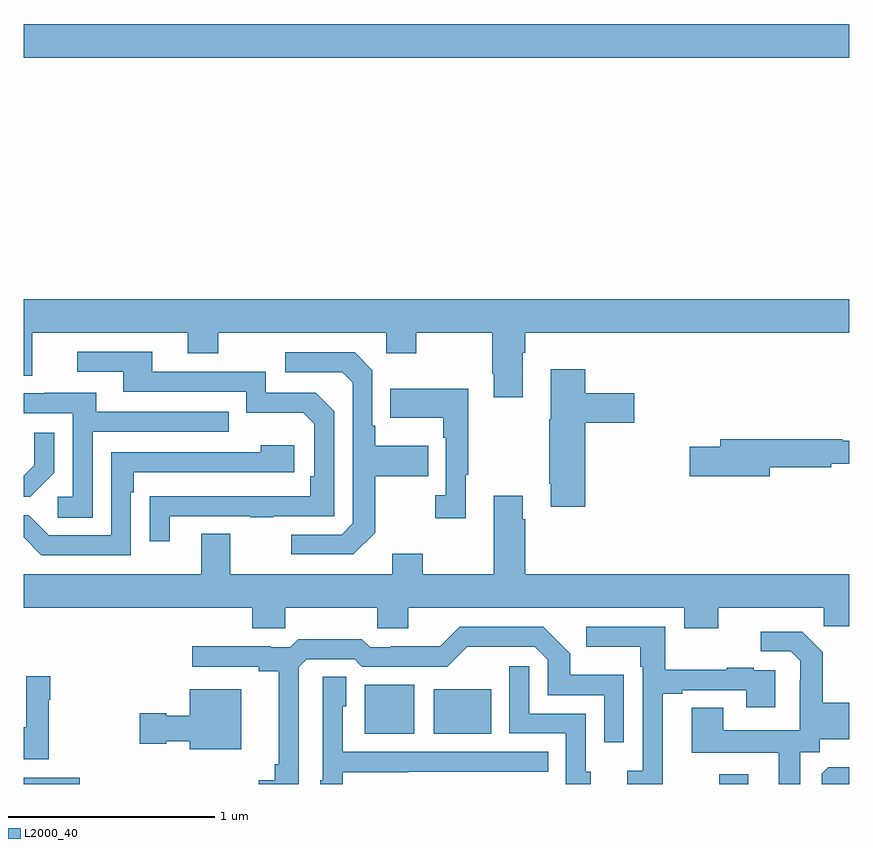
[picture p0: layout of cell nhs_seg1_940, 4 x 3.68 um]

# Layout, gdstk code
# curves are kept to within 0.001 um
import gdstk
lib = gdstk.Library(unit=1e-6, precision=1e-09)
def R(c, l, rs):  # rectangles x0, y0, x1, y1
    for r in rs: c.add(gdstk.rectangle(r[:2], r[2:], *l))
def P(c, l, *ps):  # polygons
    for p in ps: c.add(gdstk.Polygon(p, *l))
L2000_40 = (2000, 40)

nhs_seg1_940 = lib.new_cell('nhs_seg1_940')
R(nhs_seg1_940, L2000_40, [(161,564.199,161.272,564.229), (164.369,564.199,164.509,564.247), (162.653,564.443,162.892,564.679), (162.986,564.443,163.264,564.658), (161,567.716,165,567.88)])
P(nhs_seg1_940, L2000_40, [(163.417,566.288),(163.43,566.288),(163.43,566.384),(165,566.384),(165,566.548),(161,566.548),(161,566.176),(161.041,566.176),(161.041,566.384),(161.795,566.384),(161.795,566.285),(161.943,566.285),(161.943,566.384),(162.756,566.384),(162.756,566.285),(162.903,566.285),(162.903,566.384),(163.27,566.384),(163.27,566.185),(163.277,566.185),(163.277,566.073),(163.417,566.073)],
  [(161.707,565.497),(162.097,565.497),(162.097,565.492),(162.209,565.492),(162.209,565.497),(162.504,565.497),(162.504,566.004),(162.414,566.094),(162.174,566.094),(162.174,566.196),(161.623,566.196),(161.623,566.292),(161.259,566.292),(161.259,566.196),(161.483,566.196),(161.483,566.1),(162.078,566.1),(162.078,565.997),(162.355,565.997),(162.408,565.944),(162.408,565.69),(162.388,565.69),(162.388,565.593),(161.611,565.592),(161.611,565.374),(161.707,565.374)],
  [(162.703,565.417),(162.703,565.69),(162.959,565.69),(162.959,565.837),(162.703,565.837),(162.703,565.933),(162.69,565.933),(162.69,566.202),(162.603,566.289),(162.267,566.289),(162.267,566.193),(162.543,566.193),(162.594,566.142),(162.594,565.461),(162.54,565.407),(162.297,565.407),(162.297,565.311),(162.597,565.311)],
  [(163.721,565.949),(163.957,565.949),(163.957,566.091),(163.721,566.091),(163.721,566.209),(163.553,566.209),(163.553,565.965),(163.546,565.965),(163.546,565.654),(163.553,565.654),(163.553,565.542),(163.721,565.542)],
  [(163.141,565.697),(163.153,565.697),(163.153,566.113),(162.775,566.113),(162.775,565.973),(163.032,565.973),(163.032,565.877),(163.044,565.877),(163.044,565.598),(162.993,565.598),(162.993,565.485),(163.141,565.485)],
  [(161.334,565.905),(161.993,565.905),(161.993,566.001),(161.353,566.001),(161.353,566.095),(161.099,566.095),(161.099,566.091),(161,566.091),(161,565.995),(161.238,565.995),(161.238,565.59),(161.166,565.59),(161.166,565.489),(161.334,565.489)],
  [(161.148,565.706),(161.148,565.9),(161.051,565.9),(161.051,565.743),(161,565.692),(161,565.59),(161.032,565.59)],
  [(164.614,565.732),(164.912,565.732),(164.912,565.751),(165,565.751),(165,565.861),(164.966,565.861),(164.966,565.868),(164.375,565.868),(164.375,565.832),(164.226,565.832),(164.226,565.69),(164.614,565.69)],
  [(161.52,565.613),(161.533,565.613),(161.533,565.71),(162.31,565.71),(162.31,565.84),(162.149,565.84),(162.149,565.806),(161.424,565.806),(161.424,565.404),(161.121,565.404),(161.025,565.5),(161,565.5),(161,565.393),(161.085,565.308),(161.52,565.308)],
  [(164.365,565.052),(164.875,565.052),(164.875,564.962),(165,564.962),(165,565.216),(163.43,565.216),(163.43,565.481),(163.417,565.481),(163.417,565.594),(163.277,565.594),(163.277,565.216),(162.933,565.216),(162.933,565.315),(162.785,565.315),(162.785,565.216),(162.001,565.216),(162.001,565.411),(161.861,565.411),(161.861,565.216),(161,565.216),(161,565.052),(162.107,565.052),(162.107,564.954),(162.267,564.954),(162.267,565.052),(162.712,565.052),(162.712,564.954),(162.862,564.954),(162.862,565.052),(164.201,565.052),(164.201,564.953),(164.365,564.953)],
  [(164.095,564.636),(164.191,564.636),(164.191,564.654),(164.501,564.654),(164.501,564.57),(164.641,564.57),(164.641,564.75),(164.537,564.75),(164.537,564.763),(164.405,564.763),(164.405,564.752),(164.107,564.752),(164.107,564.96),(163.725,564.96),(163.725,564.863),(163.986,564.863),(163.986,564.767),(163.998,564.767),(163.998,564.262),(163.923,564.262),(163.923,564.199),(164.095,564.199)],
  [(162.333,564.765),(162.372,564.804),(162.603,564.804),(162.639,564.768),(163.053,564.768),(163.148,564.863),(163.476,564.864),(163.539,564.801),(163.539,564.63),(163.812,564.63),(163.812,564.402),(163.908,564.402),(163.908,564.727),(163.647,564.727),(163.647,564.83),(163.516,564.96),(163.113,564.96),(163.019,564.866),(162.778,564.866),(162.778,564.861),(162.678,564.861),(162.639,564.901),(162.331,564.901),(162.291,564.861),(162.197,564.861),(162.197,564.866),(161.817,564.866),(161.817,564.768),(162.14,564.768),(162.14,564.746),(162.236,564.746),(162.236,564.295),(162.217,564.295),(162.217,564.218),(162.14,564.218),(162.14,564.199),(162.333,564.199)],
  [(164.761,564.352),(164.856,564.352),(164.856,564.416),(165,564.416),(165,564.592),(164.871,564.592),(164.871,564.837),(164.771,564.937),(164.571,564.937),(164.571,564.843),(164.715,564.843),(164.762,564.796),(164.762,564.701),(164.76,564.701),(164.76,564.46),(164.389,564.46),(164.389,564.569),(164.237,564.569),(164.237,564.35),(164.657,564.35),(164.657,564.199),(164.761,564.199)],
  [(163.747,564.258),(163.722,564.258),(163.722,564.54),(163.449,564.54),(163.449,564.769),(163.353,564.769),(163.353,564.444),(163.626,564.444),(163.626,564.199),(163.747,564.199)],
  [(161.122,564.608),(161.129,564.608),(161.129,564.721),(161.012,564.721),(161.012,564.473),(161,564.473),(161,564.32),(161.122,564.32)],
  [(162.546,564.257),(162.863,564.257),(162.863,564.258),(163.541,564.258),(163.541,564.354),(162.546,564.354),(162.546,564.576),(162.562,564.576),(162.562,564.719),(162.45,564.719),(162.45,564.216),(162.437,564.216),(162.437,564.199),(162.546,564.199)],
  [(162.055,564.658),(161.804,564.658),(161.804,564.529),(161.691,564.529),(161.691,564.542),(161.562,564.542),(161.562,564.395),(161.691,564.395),(161.691,564.407),(161.804,564.407),(161.804,564.368),(162.055,564.368)],
  [(165,564.281),(164.897,564.281),(164.865,564.249),(164.865,564.199),(165,564.199)])

lib.write_gds('nhs_seg1_940.gds')
